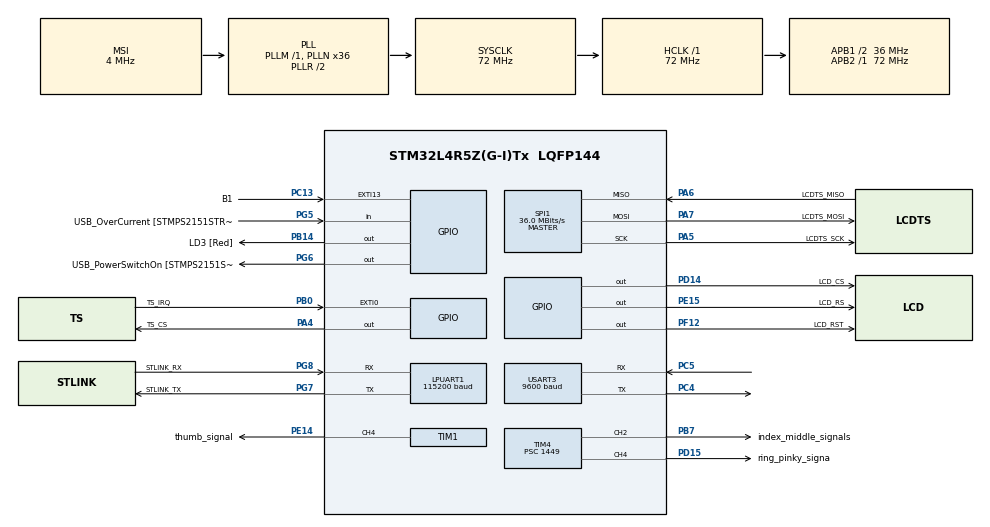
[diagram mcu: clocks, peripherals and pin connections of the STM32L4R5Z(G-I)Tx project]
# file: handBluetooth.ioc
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Dma.Request0=SPI1_RX
Dma.Request1=SPI1_TX
Dma.SPI1_RX.0.Direction=DMA_PERIPH_TO_MEMORY
Dma.SPI1_RX.0.EventEnable=DISABLE
Dma.SPI1_RX.0.Instance=DMA1_Channel1
Dma.SPI1_RX.0.MemDataAlignment=DMA_MDATAALIGN_BYTE
Dma.SPI1_RX.0.MemInc=DMA_MINC_ENABLE
Dma.SPI1_RX.0.Mode=DMA_NORMAL
Dma.SPI1_RX.0.PeriphDataAlignment=DMA_PDATAALIGN_HALFWORD
Dma.SPI1_RX.0.PeriphInc=DMA_PINC_DISABLE
Dma.SPI1_RX.0.Polarity=HAL_DMAMUX_REQUEST_GEN_RISING
Dma.SPI1_RX.0.Priority=DMA_PRIORITY_LOW
Dma.SPI1_RX.0.RequestNumber=1
Dma.SPI1_RX.0.SignalID=NONE
Dma.SPI1_RX.0.SyncEnable=DISABLE
Dma.SPI1_RX.0.SyncPolarity=HAL_DMAMUX_SYNC_NO_EVENT
Dma.SPI1_RX.0.SyncRequestNumber=1
Dma.SPI1_RX.0.SyncSignalID=NONE
Dma.SPI1_TX.1.Direction=DMA_MEMORY_TO_PERIPH
Dma.SPI1_TX.1.EventEnable=DISABLE
Dma.SPI1_TX.1.Instance=DMA1_Channel2
Dma.SPI1_TX.1.MemDataAlignment=DMA_MDATAALIGN_BYTE
Dma.SPI1_TX.1.MemInc=DMA_MINC_ENABLE
Dma.SPI1_TX.1.Mode=DMA_NORMAL
Dma.SPI1_TX.1.PeriphDataAlignment=DMA_PDATAALIGN_BYTE
Dma.SPI1_TX.1.PeriphInc=DMA_PINC_DISABLE
Dma.SPI1_TX.1.Polarity=HAL_DMAMUX_REQUEST_GEN_RISING
Dma.SPI1_TX.1.Priority=DMA_PRIORITY_LOW
Dma.SPI1_TX.1.RequestNumber=1
Dma.SPI1_TX.1.SignalID=NONE
Dma.SPI1_TX.1.SyncEnable=DISABLE
Dma.SPI1_TX.1.SyncPolarity=HAL_DMAMUX_SYNC_NO_EVENT
Dma.SPI1_TX.1.SyncRequestNumber=1
Dma.SPI1_TX.1.SyncSignalID=NONE
LPUART1.BaudRate=115200
LPUART1.WordLength=UART_WORDLENGTH_8B
Mcu.Family=STM32L4
Mcu.Name=STM32L4R5Z(G-I)Tx
Mcu.Package=LQFP144
NVIC.DMA1_Channel1_IRQn=true\:0\:0\:false\:false\:true\:false\:true\:true
NVIC.DMA1_Channel2_IRQn=true\:0\:0\:false\:false\:true\:false\:true\:true
NVIC.EXTI0_IRQn=true\:0\:0\:false\:false\:true\:true\:true\:true
NVIC.PriorityGroup=NVIC_PRIORITYGROUP_4
NVIC.SPI1_IRQn=true\:0\:0\:false\:false\:true\:true\:true\:true
NVIC.USART3_IRQn=true\:0\:0\:false\:false\:true\:true\:true\:true
PA10.GPIO_Label=USB_ID
PA10.Signal=USB_OTG_FS_ID
PA11.GPIO_Label=USB_DM
PA11.Signal=USB_OTG_FS_DM
PA12.GPIO_Label=USB_DP
PA12.Signal=USB_OTG_FS_DP
PA13\ (JTMS/SWDIO).GPIO_Label=TMS
PA13\ (JTMS/SWDIO).Signal=SYS_JTMS-SWDIO
PA14\ (JTCK/SWCLK).GPIO_Label=TCK
PA14\ (JTCK/SWCLK).Signal=SYS_JTCK-SWCLK
PA4.GPIO_Label=TS_CS
PA4.PinState=GPIO_PIN_SET
PA4.Signal=GPIO_Output
PA5.GPIO_Label=LCDTS_SCK
PA5.Mode=Full_Duplex_Master
PA5.Signal=SPI1_SCK
PA6.GPIO_Label=LCDTS_MISO
PA6.Mode=Full_Duplex_Master
PA6.Signal=SPI1_MISO
PA7.GPIO_Label=LCDTS_MOSI
PA7.Mode=Full_Duplex_Master
PA7.Signal=SPI1_MOSI
PA8.GPIO_Label=USB_SOF [TP1]
PA8.Signal=USB_OTG_FS_SOF
PA9.GPIO_Label=USB_VBUS
PA9.Signal=USB_OTG_FS_VBUS
PB0.GPIO_Label=TS_IRQ
PB0.GPIO_ModeDefaultEXTI=GPIO_MODE_IT_FALLING
PB0.GPIO_PuPd=GPIO_NOPULL
PB0.Signal=GPXTI0
PB14.GPIO_Label=LD3 [Red]
PB14.PinState=GPIO_PIN_RESET
PB14.Signal=GPIO_Output
PB7.GPIO_Label=index_middle_signals
PB7.Signal=S_TIM4_CH2
PC13.GPIO_Label=B1
PC13.Signal=GPXTI13
PC14-OSC32_IN\ (PC14).Mode=LSE-External-Oscillator
PC14-OSC32_IN\ (PC14).Signal=RCC_OSC32_IN
PC15-OSC32_OUT\ (PC15).Mode=LSE-External-Oscillator
PC15-OSC32_OUT\ (PC15).Signal=RCC_OSC32_OUT
PC4.Mode=Asynchronous
PC4.Signal=USART3_TX
PC5.Mode=Asynchronous
PC5.Signal=USART3_RX
PD14.GPIO_Label=LCD_CS
PD14.GPIO_Speed=GPIO_SPEED_FREQ_VERY_HIGH
PD14.PinState=GPIO_PIN_SET
PD14.Signal=GPIO_Output
PD15.GPIO_Label=ring_pinky_signa
PD15.Signal=S_TIM4_CH4
PE14.GPIO_Label=thumb_signal
PE14.Signal=S_TIM1_CH4
PE15.GPIO_Label=LCD_RS
PE15.GPIO_Speed=GPIO_SPEED_FREQ_VERY_HIGH
PE15.Signal=GPIO_Output
PF12.GPIO_Label=LCD_RST
PF12.GPIO_Speed=GPIO_SPEED_FREQ_LOW
PF12.PinState=GPIO_PIN_SET
PF12.Signal=GPIO_Output
PG5.GPIO_Label=USB_OverCurrent [STMPS2151STR_FAULT]
PG5.Signal=GPIO_Input
PG6.GPIO_Label=USB_PowerSwitchOn [STMPS2151STR_En]
PG6.Signal=GPIO_Output
PG7.GPIO_Label=STLINK_TX
PG7.Mode=Asynchronous
PG7.Signal=LPUART1_TX
PG8.GPIO_Label=STLINK_RX
PG8.Mode=Asynchronous
PG8.Signal=LPUART1_RX
PH0-OSC_IN\ (PH0).Mode=HSE-External-Clock-Source
PH0-OSC_IN\ (PH0).Signal=RCC_OSC_IN
PH1-OSC_OUT\ (PH1).Signal=RCC_OSC_OUT
ProjectManager.HeapSize=0x200
ProjectManager.StackSize=0x400
ProjectManager.TargetToolchain=STM32CubeIDE
RCC.48MHZClocksFreq_Value=24000000
RCC.ADCFreq_Value=16000000
RCC.AHBFreq_Value=72000000
RCC.APB1CLKDivider=RCC_HCLK_DIV2
RCC.APB1Freq_Value=36000000
RCC.APB1TimFreq_Value=72000000
RCC.APB2Freq_Value=72000000
RCC.APB2TimFreq_Value=72000000
RCC.CortexFreq_Value=72000000
RCC.HCLKFreq_Value=72000000
RCC.HSE_VALUE=8000000
RCC.HSI48_VALUE=48000000
RCC.HSI_VALUE=16000000
RCC.MSI_VALUE=4000000
RCC.PLLMUL=RCC_PLL_MUL9
RCC.PLLN=36
RCC.PRESCALERUSB=RCC_USBCLKSOURCE_PLL_DIV1_5
RCC.SYSCLKFreq_VALUE=72000000
RCC.SYSCLKSource=RCC_SYSCLKSOURCE_PLLCLK
RCC.SYSCLKSourceVirtual=RCC_SYSCLKSOURCE_PLLCLK
RCC.USBFreq_Value=16000000
RCC.VCOOutputFreq_Value=144000000
SH.S_TIM1_CH4.0=TIM1_CH4,PWM Generation4 CH4
SH.S_TIM4_CH2.0=TIM4_CH2,PWM Generation2 CH2
SH.S_TIM4_CH4.0=TIM4_CH4,PWM Generation4 CH4
SPI1.BaudRatePrescaler=SPI_BAUDRATEPRESCALER_2
SPI1.CalculateBaudRate=36.0 MBits/s
SPI1.DataSize=SPI_DATASIZE_8BIT
SPI1.Direction=SPI_DIRECTION_2LINES
SPI1.Mode=SPI_MODE_MASTER
SPI1.VirtualType=VM_MASTER
TIM1.AutoReloadPreload=TIM_AUTORELOAD_PRELOAD_ENABLE
TIM1.Channel-PWM\ Generation4\ CH4=TIM_CHANNEL_4
TIM1.Period=999
TIM1.Prescaler=1449
TIM1.Pulse-PWM\ Generation4\ CH4=250
TIM4.AutoReloadPreload=TIM_AUTORELOAD_PRELOAD_ENABLE
TIM4.Channel-PWM\ Generation2\ CH2=TIM_CHANNEL_2
TIM4.Channel-PWM\ Generation4\ CH4=TIM_CHANNEL_4
TIM4.Period=999
TIM4.Prescaler=1449
TIM4.Pulse-PWM\ Generation2\ CH2=50
USART3.BaudRate=9600
USART3.VirtualMode-Asynchronous=VM_ASYNC
board=NUCLEO-L4R5ZI

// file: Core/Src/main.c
/* USER CODE BEGIN Header */
/**
  ******************************************************************************
  * @file           : main.c
  * @brief          : Main program body
  ******************************************************************************
  * @attention
  *
  * Copyright (c) 2025 STMicroelectronics.
  * All rights reserved.
  *
  * This software is licensed under terms that can be found in the LICENSE file
  * in the root directory of this software component.
  * If no LICENSE file comes with this software, it is provided AS-IS.
  *
  ******************************************************************************
  */
/* USER CODE END Header */
#include "main.h"

/* USER CODE BEGIN Includes */
#include "game.h"
#include "stdio.h"
#include "audio_clips.h"
#include "bitmap.h"
#include "Lcd/ili9488.h"
/* BSP LCD driver */
#include "Lcd/stm32_ili9488_lcd.h"

/* BSP TS driver */
#include "Lcd/stm32_ili9488_ts.h"
/* USER CODE END Includes */

UART_HandleTypeDef hlpuart1;
UART_HandleTypeDef huart3;

SPI_HandleTypeDef hspi1;
DMA_HandleTypeDef hdma_spi1_rx;
DMA_HandleTypeDef hdma_spi1_tx;

TIM_HandleTypeDef htim1;
TIM_HandleTypeDef htim4;

/* USER CODE BEGIN PV */
extern LCD_DrvTypeDef *lcd_drv;

/* USER CODE END PV */

void SystemClock_Config(void);
static void MX_GPIO_Init(void);
static void MX_DMA_Init(void);
static void MX_SPI1_Init(void);
static void MX_TIM1_Init(void);
static void MX_TIM4_Init(void);
static void MX_USART3_UART_Init(void);
static void MX_LPUART1_UART_Init(void);

/* USER CODE BEGIN 0 */
#ifdef __GNUC__
#define PUTCHAR_PROTOTYPE int __io_putchar(int ch)
#else
#define PUTCHAR_PROTOTYPE int fputc(int ch, FILE *f)
#endif

PUTCHAR_PROTOTYPE
{
    HAL_UART_Transmit(&hlpuart1, (uint8_t *)&ch, 1, HAL_MAX_DELAY);
    return ch;
}

uint8_t cmd;

struct GameInfo prevMatch = {NOGAME, NOCHOICE, NOCHOICE};
uint16_t lcd_height;
uint16_t lcd_width;

GameResult getGameResult(Gesture userChoice, Gesture robotChoice) {
    if (userChoice == robotChoice) {
       return TIED;
    }
    else if ((userChoice == ROCK && robotChoice == SCISSORS) || (userChoice == PAPER && robotChoice == ROCK) || (userChoice == SCISSORS && robotChoice == PAPER)) {
      return USER_WINS;
    }
    return ROBOT_WINS;
}

const uint16_t* getBitMap(Gesture choice) {
    const uint16_t* bitmap;
    switch (choice){
    case ROCK:
       bitmap = rockBitMap;
       break;
    case SCISSORS:
        bitmap = scissorBitMap;
        break;
    default:
        bitmap = paperBitMap;
    }
    return bitmap;
}

void displayText() {
	// font24 has 6 lines (0-5)
	  int resultTextLine = 5;

	if (prevMatch.res == NOGAME) {
		return;
	}
	BSP_LCD_ClearStringLine(resultTextLine);
	if (prevMatch.res == TIED) {
		BSP_LCD_DisplayStringAtLine(resultTextLine, (uint8_t*)"Stalemate");
	}
	else if (prevMatch.res == USER_WINS) {
		BSP_LCD_DisplayStringAtLine(resultTextLine, (uint8_t*)"You win!");
	}
	else if (prevMatch.res == ROBOT_WINS){
		BSP_LCD_DisplayStringAtLine(resultTextLine, (uint8_t*)"You lost");
	}
}
// Change graphics and result text to reflect current match info.
void displayLCD(struct GameInfo curMatch)
{

	     BSP_LCD_DisplayChar(15, lcd_height/2 - 20, 'Y');
	  	 BSP_LCD_DisplayChar(30, lcd_height/2 - 20, 'O');
	  	 BSP_LCD_DisplayChar(45, lcd_height/2 - 20, 'U');

	  	 BSP_LCD_DisplayChar(lcd_width-90, lcd_height/2 - 20, 'R');
	  	 BSP_LCD_DisplayChar(lcd_width-75, lcd_height/2 - 20, 'O');
	  	 BSP_LCD_DisplayChar(lcd_width-60, lcd_height/2 - 20, 'B');
	  	 BSP_LCD_DisplayChar(lcd_width-45, lcd_height/2 - 20, 'O');
	  	 BSP_LCD_DisplayChar(lcd_width-30, lcd_height/2 - 20, 'T');

	  prevMatch.res = curMatch.res;
	  prevMatch.userChoice = curMatch.userChoice;
	  prevMatch.robotChoice = curMatch.robotChoice;

	  displayText();

	  const uint16_t* userBitmap = getBitMap(curMatch.userChoice);
	  const uint16_t* robotBitmap = getBitMap(curMatch.robotChoice);

	  BSP_LCD_DrawRGB16Image(0, lcd_height/2, 100, 100, (uint16_t*)userBitmap);

	  BSP_LCD_DrawRGB16Image(BSP_LCD_GetXSize()-100, BSP_LCD_GetYSize()/2, 100, 100, (uint16_t*)robotBitmap);

}

uint32_t update_ccr(uint32_t originalVal, uint32_t target) {
	if (target > originalVal) {
		return originalVal + 5;
	}
	else if (target < originalVal) {
		return originalVal - 5;
	}
	return originalVal;
}

void lcd_countdown() {

	 BSP_LCD_Clear(LCD_COLOR_BLACK);
	 BSP_LCD_SetFont(&Font200);
	 BSP_LCD_DisplayChar(lcd_width/5, lcd_height/3, '3');
	 lcd_drv->FillRect(0,0, 320 /3 , 480/3, 0x0000);
	 BSP_LCD_DisplayChar(lcd_width/5, lcd_height/3, '2');
	 lcd_drv->FillRect(0,0, 320 /3 , 480/3, 0x0000);
	 BSP_LCD_DisplayChar(lcd_width/5, lcd_height/3, '1');
	 lcd_drv->FillRect(lcd_width/5, lcd_height/3, 200, 200, 0x0000);
	 BSP_LCD_SetFont(&LCD_DEFAULT_FONT);
}

void move_hand(Gesture robotMove)
{
	 uint32_t thumb_target;
	 uint32_t index_middle_target;
	 uint32_t ring_pinky_target;
	//  CCR 50 = 0 degrees, CCR 150 = 90 degrees, CCR 250 = 180 degrees

	  if (robotMove == ROCK) { // thumb ccr to 250, other timers' CCR set to 50
		  thumb_target = 250;
		  index_middle_target = 50;
		  ring_pinky_target = 50;
	}
	 else if (robotMove == PAPER) { // thumb ccr to 50, other timers' CCR set to 250
		  thumb_target = 50;
		  index_middle_target = 250;
		  ring_pinky_target = 250;
	 }
	 else if (robotMove == SCISSORS) {
		 thumb_target = 250;
		 index_middle_target = 250;
		 ring_pinky_target = 50;
	 }
	 else if (robotMove == NOCHOICE) {
		 thumb_target = 150;
		 index_middle_target = 125;
		 ring_pinky_target = 125;
	  }
	  uint32_t thumb_ccr =  htim1.Instance->CCR4;
	  uint32_t index_middle_ccr = htim4.Instance->CCR2;
	  uint32_t ring_pinky_ccr = htim4.Instance->CCR4;

	  while (thumb_ccr != thumb_target || (index_middle_target != index_middle_ccr) || (ring_pinky_target != ring_pinky_ccr)) {
		 if (thumb_ccr != thumb_target) {
			 __HAL_TIM_SET_COMPARE(&htim1, TIM_CHANNEL_4, update_ccr(thumb_ccr, thumb_target));
		 }
		 if (index_middle_ccr != index_middle_target) {

			 __HAL_TIM_SET_COMPARE(&htim4, TIM_CHANNEL_2, update_ccr(index_middle_ccr, index_middle_target));
		 }
		if (ring_pinky_ccr != ring_pinky_target) {

			 __HAL_TIM_SET_COMPARE(&htim4, TIM_CHANNEL_4, update_ccr(ring_pinky_ccr, ring_pinky_target));
		 }
		thumb_ccr =  htim1.Instance->CCR4;
		index_middle_ccr = htim4.Instance->CCR2;
		ring_pinky_ccr = htim4.Instance->CCR4;
		HAL_Delay(1);
	}

}

void run_test() {
	move_hand(PAPER);
	HAL_Delay(2000);
	move_hand(ROCK);
	HAL_Delay(2000);
}

/* USER CODE END 0 */

int main(void)
{

  /* MCU Configuration--------------------------------------------------------*/

  /* Reset of all peripherals, Initializes the Flash interface and the Systick. */
  HAL_Init();

  /* Configure the system clock */
  SystemClock_Config();

  /* Initialize all configured peripherals */
  MX_GPIO_Init();
  MX_DMA_Init();
  MX_SPI1_Init();
  MX_TIM1_Init();
  MX_TIM4_Init();
  MX_USART3_UART_Init();
  MX_LPUART1_UART_Init();
  /* USER CODE BEGIN 2 */

  // Start timers for hand: start off with paper
   HAL_TIM_PWM_Start(&htim4, TIM_CHANNEL_2);  // index and middle fingers: CCR=250 is stretched, CCR=50 is curled
   HAL_TIM_PWM_Start(&htim4, TIM_CHANNEL_4);
   HAL_TIM_PWM_Start(&htim1, TIM_CHANNEL_4); // thumb finger: CCR=50 is stretched, CCR=250 is curled
   BSP_LCD_Init();
   lcd_height = BSP_LCD_GetYSize();
    lcd_width = BSP_LCD_GetXSize();
    BSP_LCD_SetTextColor(LCD_COLOR_WHITE); // set initial text color to white
    lcd_countdown();
  /* USER CODE END 2 */

  /* Infinite loop */
  /* USER CODE BEGIN WHILE */

  while (1)
  {
		     if (HAL_UART_Receive(&huart3, &cmd, 1, HAL_MAX_DELAY) == HAL_OK) {
		        if (cmd == 9) {
  		        	lcd_countdown();
		        	  // move_hand(NOCHOICE);
		       		  continue;
		        }
		        Gesture robotGesture = (Gesture)(cmd / 3);
		        Gesture userGesture = (Gesture)(cmd % 3);
		        GameResult res =  getGameResult(userGesture, robotGesture);
		    	  struct GameInfo matchInfo = {res, userGesture, robotGesture};
		        printf("Received: %d\r\n", cmd);
		        move_hand(robotGesture);
		        displayLCD(matchInfo);

		      }

    /* USER CODE END WHILE */

  }
}

void SystemClock_Config(void)
{
  RCC_OscInitTypeDef RCC_OscInitStruct = {0};
  RCC_ClkInitTypeDef RCC_ClkInitStruct = {0};

  /** Configure the main internal regulator output voltage
  */
  if (HAL_PWREx_ControlVoltageScaling(PWR_REGULATOR_VOLTAGE_SCALE1) != HAL_OK)
  {
    Error_Handler();
  }

  /** Initializes the RCC Oscillators according to the specified parameters
  * in the RCC_OscInitTypeDef structure.
  */
  RCC_OscInitStruct.OscillatorType = RCC_OSCILLATORTYPE_MSI;
  RCC_OscInitStruct.MSIState = RCC_MSI_ON;
  RCC_OscInitStruct.MSICalibrationValue = 0;
  RCC_OscInitStruct.MSIClockRange = RCC_MSIRANGE_6;
  RCC_OscInitStruct.PLL.PLLState = RCC_PLL_ON;
  RCC_OscInitStruct.PLL.PLLSource = RCC_PLLSOURCE_MSI;
  RCC_OscInitStruct.PLL.PLLM = 1;
  RCC_OscInitStruct.PLL.PLLN = 36;
  RCC_OscInitStruct.PLL.PLLP = RCC_PLLP_DIV2;
  RCC_OscInitStruct.PLL.PLLQ = RCC_PLLQ_DIV2;
  RCC_OscInitStruct.PLL.PLLR = RCC_PLLR_DIV2;
  if (HAL_RCC_OscConfig(&RCC_OscInitStruct) != HAL_OK)
  {
    Error_Handler();
  }

  /** Initializes the CPU, AHB and APB buses clocks
  */
  RCC_ClkInitStruct.ClockType = RCC_CLOCKTYPE_HCLK|RCC_CLOCKTYPE_SYSCLK
                              |RCC_CLOCKTYPE_PCLK1|RCC_CLOCKTYPE_PCLK2;
  RCC_ClkInitStruct.SYSCLKSource = RCC_SYSCLKSOURCE_PLLCLK;
  RCC_ClkInitStruct.AHBCLKDivider = RCC_SYSCLK_DIV1;
  RCC_ClkInitStruct.APB1CLKDivider = RCC_HCLK_DIV2;
  RCC_ClkInitStruct.APB2CLKDivider = RCC_HCLK_DIV1;

  if (HAL_RCC_ClockConfig(&RCC_ClkInitStruct, FLASH_LATENCY_3) != HAL_OK)
  {
    Error_Handler();
  }
}

static void MX_LPUART1_UART_Init(void)
{

  hlpuart1.Instance = LPUART1;
  hlpuart1.Init.BaudRate = 115200;
  hlpuart1.Init.WordLength = UART_WORDLENGTH_8B;
  hlpuart1.Init.StopBits = UART_STOPBITS_1;
  hlpuart1.Init.Parity = UART_PARITY_NONE;
  hlpuart1.Init.Mode = UART_MODE_TX_RX;
  hlpuart1.Init.HwFlowCtl = UART_HWCONTROL_NONE;
  hlpuart1.Init.OneBitSampling = UART_ONE_BIT_SAMPLE_DISABLE;
  hlpuart1.Init.ClockPrescaler = UART_PRESCALER_DIV1;
  hlpuart1.AdvancedInit.AdvFeatureInit = UART_ADVFEATURE_NO_INIT;
  hlpuart1.FifoMode = UART_FIFOMODE_DISABLE;
  if (HAL_UART_Init(&hlpuart1) != HAL_OK)
  {
    Error_Handler();
  }
  if (HAL_UARTEx_SetTxFifoThreshold(&hlpuart1, UART_TXFIFO_THRESHOLD_1_8) != HAL_OK)
  {
    Error_Handler();
  }
  if (HAL_UARTEx_SetRxFifoThreshold(&hlpuart1, UART_RXFIFO_THRESHOLD_1_8) != HAL_OK)
  {
    Error_Handler();
  }
  if (HAL_UARTEx_DisableFifoMode(&hlpuart1) != HAL_OK)
  {
    Error_Handler();
  }

}

static void MX_USART3_UART_Init(void)
{

  huart3.Instance = USART3;
  huart3.Init.BaudRate = 9600;
  huart3.Init.WordLength = UART_WORDLENGTH_8B;
  huart3.Init.StopBits = UART_STOPBITS_1;
  huart3.Init.Parity = UART_PARITY_NONE;
  huart3.Init.Mode = UART_MODE_TX_RX;
  huart3.Init.HwFlowCtl = UART_HWCONTROL_NONE;
  huart3.Init.OverSampling = UART_OVERSAMPLING_16;
  huart3.Init.OneBitSampling = UART_ONE_BIT_SAMPLE_DISABLE;
  huart3.Init.ClockPrescaler = UART_PRESCALER_DIV1;
  huart3.AdvancedInit.AdvFeatureInit = UART_ADVFEATURE_NO_INIT;
  if (HAL_UART_Init(&huart3) != HAL_OK)
  {
    Error_Handler();
  }
  if (HAL_UARTEx_SetTxFifoThreshold(&huart3, UART_TXFIFO_THRESHOLD_1_8) != HAL_OK)
  {
    Error_Handler();
  }
  if (HAL_UARTEx_SetRxFifoThreshold(&huart3, UART_RXFIFO_THRESHOLD_1_8) != HAL_OK)
  {
    Error_Handler();
  }
  if (HAL_UARTEx_DisableFifoMode(&huart3) != HAL_OK)
  {
    Error_Handler();
  }

}

static void MX_SPI1_Init(void)
{

  /* SPI1 parameter configuration*/
  hspi1.Instance = SPI1;
  hspi1.Init.Mode = SPI_MODE_MASTER;
  hspi1.Init.Direction = SPI_DIRECTION_2LINES;
  hspi1.Init.DataSize = SPI_DATASIZE_8BIT;
  hspi1.Init.CLKPolarity = SPI_POLARITY_LOW;
  hspi1.Init.CLKPhase = SPI_PHASE_1EDGE;
  hspi1.Init.NSS = SPI_NSS_SOFT;
  hspi1.Init.BaudRatePrescaler = SPI_BAUDRATEPRESCALER_2;
  hspi1.Init.FirstBit = SPI_FIRSTBIT_MSB;
  hspi1.Init.TIMode = SPI_TIMODE_DISABLE;
  hspi1.Init.CRCCalculation = SPI_CRCCALCULATION_DISABLE;
  hspi1.Init.CRCPolynomial = 7;
  hspi1.Init.CRCLength = SPI_CRC_LENGTH_DATASIZE;
  hspi1.Init.NSSPMode = SPI_NSS_PULSE_ENABLE;
  if (HAL_SPI_Init(&hspi1) != HAL_OK)
  {
    Error_Handler();
  }

}

static void MX_TIM1_Init(void)
{

  TIM_MasterConfigTypeDef sMasterConfig = {0};
  TIM_OC_InitTypeDef sConfigOC = {0};
  TIM_BreakDeadTimeConfigTypeDef sBreakDeadTimeConfig = {0};

  htim1.Instance = TIM1;
  htim1.Init.Prescaler = 1449;
  htim1.Init.CounterMode = TIM_COUNTERMODE_UP;
  htim1.Init.Period = 999;
  htim1.Init.ClockDivision = TIM_CLOCKDIVISION_DIV1;
  htim1.Init.RepetitionCounter = 0;
  htim1.Init.AutoReloadPreload = TIM_AUTORELOAD_PRELOAD_ENABLE;
  if (HAL_TIM_PWM_Init(&htim1) != HAL_OK)
  {
    Error_Handler();
  }
  sMasterConfig.MasterOutputTrigger = TIM_TRGO_RESET;
  sMasterConfig.MasterOutputTrigger2 = TIM_TRGO2_RESET;
  sMasterConfig.MasterSlaveMode = TIM_MASTERSLAVEMODE_DISABLE;
  if (HAL_TIMEx_MasterConfigSynchronization(&htim1, &sMasterConfig) != HAL_OK)
  {
    Error_Handler();
  }
  sConfigOC.OCMode = TIM_OCMODE_PWM1;
  sConfigOC.Pulse = 250;
  sConfigOC.OCPolarity = TIM_OCPOLARITY_HIGH;
  sConfigOC.OCFastMode = TIM_OCFAST_DISABLE;
  sConfigOC.OCIdleState = TIM_OCIDLESTATE_RESET;
  sConfigOC.OCNIdleState = TIM_OCNIDLESTATE_RESET;
  if (HAL_TIM_PWM_ConfigChannel(&htim1, &sConfigOC, TIM_CHANNEL_4) != HAL_OK)
  {
    Error_Handler();
  }
  sBreakDeadTimeConfig.OffStateRunMode = TIM_OSSR_DISABLE;
  sBreakDeadTimeConfig.OffStateIDLEMode = TIM_OSSI_DISABLE;
  sBreakDeadTimeConfig.LockLevel = TIM_LOCKLEVEL_OFF;
  sBreakDeadTimeConfig.DeadTime = 0;
  sBreakDeadTimeConfig.BreakState = TIM_BREAK_DISABLE;
  sBreakDeadTimeConfig.BreakPolarity = TIM_BREAKPOLARITY_HIGH;
  sBreakDeadTimeConfig.BreakFilter = 0;
  sBreakDeadTimeConfig.Break2State = TIM_BREAK2_DISABLE;
  sBreakDeadTimeConfig.Break2Polarity = TIM_BREAK2POLARITY_HIGH;
  sBreakDeadTimeConfig.Break2Filter = 0;
  sBreakDeadTimeConfig.AutomaticOutput = TIM_AUTOMATICOUTPUT_DISABLE;
  if (HAL_TIMEx_ConfigBreakDeadTime(&htim1, &sBreakDeadTimeConfig) != HAL_OK)
  {
    Error_Handler();
  }
  HAL_TIM_MspPostInit(&htim1);

}

static void MX_TIM4_Init(void)
{

  TIM_MasterConfigTypeDef sMasterConfig = {0};
  TIM_OC_InitTypeDef sConfigOC = {0};

  htim4.Instance = TIM4;
  htim4.Init.Prescaler = 1449;
  htim4.Init.CounterMode = TIM_COUNTERMODE_UP;
  htim4.Init.Period = 999;
  htim4.Init.ClockDivision = TIM_CLOCKDIVISION_DIV1;
  htim4.Init.AutoReloadPreload = TIM_AUTORELOAD_PRELOAD_ENABLE;
  if (HAL_TIM_PWM_Init(&htim4) != HAL_OK)
  {
    Error_Handler();
  }
  sMasterConfig.MasterOutputTrigger = TIM_TRGO_RESET;
  sMasterConfig.MasterSlaveMode = TIM_MASTERSLAVEMODE_DISABLE;
  if (HAL_TIMEx_MasterConfigSynchronization(&htim4, &sMasterConfig) != HAL_OK)
  {
    Error_Handler();
  }
  sConfigOC.OCMode = TIM_OCMODE_PWM1;
  sConfigOC.Pulse = 50;
  sConfigOC.OCPolarity = TIM_OCPOLARITY_HIGH;
  sConfigOC.OCFastMode = TIM_OCFAST_DISABLE;
  if (HAL_TIM_PWM_ConfigChannel(&htim4, &sConfigOC, TIM_CHANNEL_2) != HAL_OK)
  {
    Error_Handler();
  }
  sConfigOC.Pulse = 0;
  if (HAL_TIM_PWM_ConfigChannel(&htim4, &sConfigOC, TIM_CHANNEL_4) != HAL_OK)
  {
    Error_Handler();
  }
  HAL_TIM_MspPostInit(&htim4);

}

static void MX_DMA_Init(void)
{

  /* DMA controller clock enable */
  __HAL_RCC_DMAMUX1_CLK_ENABLE();
  __HAL_RCC_DMA1_CLK_ENABLE();

  /* DMA interrupt init */
  /* DMA1_Channel1_IRQn interrupt configuration */
  HAL_NVIC_SetPriority(DMA1_Channel1_IRQn, 0, 0);
  HAL_NVIC_EnableIRQ(DMA1_Channel1_IRQn);
  /* DMA1_Channel2_IRQn interrupt configuration */
  HAL_NVIC_SetPriority(DMA1_Channel2_IRQn, 0, 0);
  HAL_NVIC_EnableIRQ(DMA1_Channel2_IRQn);

}

static void MX_GPIO_Init(void)
{
  GPIO_InitTypeDef GPIO_InitStruct = {0};

  /* GPIO Ports Clock Enable */
  __HAL_RCC_GPIOC_CLK_ENABLE();
  __HAL_RCC_GPIOH_CLK_ENABLE();
  __HAL_RCC_GPIOA_CLK_ENABLE();
  __HAL_RCC_GPIOB_CLK_ENABLE();
  __HAL_RCC_GPIOF_CLK_ENABLE();
  __HAL_RCC_GPIOE_CLK_ENABLE();
  __HAL_RCC_GPIOD_CLK_ENABLE();
  __HAL_RCC_GPIOG_CLK_ENABLE();
  HAL_PWREx_EnableVddIO2();

  /*Configure GPIO pin Output Level */
  HAL_GPIO_WritePin(TS_CS_GPIO_Port, TS_CS_Pin, GPIO_PIN_SET);

  /*Configure GPIO pin Output Level */
  HAL_GPIO_WritePin(LCD_RST_GPIO_Port, LCD_RST_Pin, GPIO_PIN_SET);

  /*Configure GPIO pin Output Level */
  HAL_GPIO_WritePin(LCD_RS_GPIO_Port, LCD_RS_Pin, GPIO_PIN_RESET);

  /*Configure GPIO pin Output Level */
  HAL_GPIO_WritePin(LD3_GPIO_Port, LD3_Pin, GPIO_PIN_RESET);

  /*Configure GPIO pin Output Level */
  HAL_GPIO_WritePin(LCD_CS_GPIO_Port, LCD_CS_Pin, GPIO_PIN_SET);

  /*Configure GPIO pin Output Level */
  HAL_GPIO_WritePin(USB_PowerSwitchOn_GPIO_Port, USB_PowerSwitchOn_Pin, GPIO_PIN_RESET);

  /*Configure GPIO pin : B1_Pin */
  GPIO_InitStruct.Pin = B1_Pin;
  GPIO_InitStruct.Mode = GPIO_MODE_IT_RISING;
  GPIO_InitStruct.Pull = GPIO_NOPULL;
  HAL_GPIO_Init(B1_GPIO_Port, &GPIO_InitStruct);

  /*Configure GPIO pin : TS_CS_Pin */
  GPIO_InitStruct.Pin = TS_CS_Pin;
  GPIO_InitStruct.Mode = GPIO_MODE_OUTPUT_PP;
  GPIO_InitStruct.Pull = GPIO_NOPULL;
  GPIO_InitStruct.Speed = GPIO_SPEED_FREQ_LOW;
  HAL_GPIO_Init(TS_CS_GPIO_Port, &GPIO_InitStruct);

  /*Configure GPIO pin : TS_IRQ_Pin */
  GPIO_InitStruct.Pin = TS_IRQ_Pin;
  GPIO_InitStruct.Mode = GPIO_MODE_IT_FALLING;
  GPIO_InitStruct.Pull = GPIO_NOPULL;
  HAL_GPIO_Init(TS_IRQ_GPIO_Port, &GPIO_InitStruct);

  /*Configure GPIO pin : LCD_RST_Pin */
  GPIO_InitStruct.Pin = LCD_RST_Pin;
  GPIO_InitStruct.Mode = GPIO_MODE_OUTPUT_PP;
  GPIO_InitStruct.Pull = GPIO_NOPULL;
  GPIO_InitStruct.Speed = GPIO_SPEED_FREQ_LOW;
  HAL_GPIO_Init(LCD_RST_GPIO_Port, &GPIO_InitStruct);

  /*Configure GPIO pin : LCD_RS_Pin */
  GPIO_InitStruct.Pin = LCD_RS_Pin;
  GPIO_InitStruct.Mode = GPIO_MODE_OUTPUT_PP;
  GPIO_InitStruct.Pull = GPIO_NOPULL;
  GPIO_InitStruct.Speed = GPIO_SPEED_FREQ_VERY_HIGH;
  HAL_GPIO_Init(LCD_RS_GPIO_Port, &GPIO_InitStruct);

  /*Configure GPIO pin : LD3_Pin */
  GPIO_InitStruct.Pin = LD3_Pin;
  GPIO_InitStruct.Mode = GPIO_MODE_OUTPUT_PP;
  GPIO_InitStruct.Pull = GPIO_NOPULL;
  GPIO_InitStruct.Speed = GPIO_SPEED_FREQ_LOW;
  HAL_GPIO_Init(LD3_GPIO_Port, &GPIO_InitStruct);

  /*Configure GPIO pin : LCD_CS_Pin */
  GPIO_InitStruct.Pin = LCD_CS_Pin;
  GPIO_InitStruct.Mode = GPIO_MODE_OUTPUT_PP;
  GPIO_InitStruct.Pull = GPIO_NOPULL;
  GPIO_InitStruct.Speed = GPIO_SPEED_FREQ_VERY_HIGH;
  HAL_GPIO_Init(LCD_CS_GPIO_Port, &GPIO_InitStruct);

  /*Configure GPIO pin : USB_OverCurrent_Pin */
  GPIO_InitStruct.Pin = USB_OverCurrent_Pin;
  GPIO_InitStruct.Mode = GPIO_MODE_INPUT;
  GPIO_InitStruct.Pull = GPIO_NOPULL;
  HAL_GPIO_Init(USB_OverCurrent_GPIO_Port, &GPIO_InitStruct);

  /*Configure GPIO pin : USB_PowerSwitchOn_Pin */
  GPIO_InitStruct.Pin = USB_PowerSwitchOn_Pin;
  GPIO_InitStruct.Mode = GPIO_MODE_OUTPUT_PP;
  GPIO_InitStruct.Pull = GPIO_NOPULL;
  GPIO_InitStruct.Speed = GPIO_SPEED_FREQ_LOW;
  HAL_GPIO_Init(USB_PowerSwitchOn_GPIO_Port, &GPIO_InitStruct);

  /*Configure GPIO pins : USB_SOF_Pin USB_ID_Pin USB_DM_Pin USB_DP_Pin */
  GPIO_InitStruct.Pin = USB_SOF_Pin|USB_ID_Pin|USB_DM_Pin|USB_DP_Pin;
  GPIO_InitStruct.Mode = GPIO_MODE_AF_PP;
  GPIO_InitStruct.Pull = GPIO_NOPULL;
  GPIO_InitStruct.Speed = GPIO_SPEED_FREQ_VERY_HIGH;
  GPIO_InitStruct.Alternate = GPIO_AF10_OTG_FS;
  HAL_GPIO_Init(GPIOA, &GPIO_InitStruct);

  /*Configure GPIO pin : USB_VBUS_Pin */
  GPIO_InitStruct.Pin = USB_VBUS_Pin;
  GPIO_InitStruct.Mode = GPIO_MODE_INPUT;
  GPIO_InitStruct.Pull = GPIO_NOPULL;
  HAL_GPIO_Init(USB_VBUS_GPIO_Port, &GPIO_InitStruct);

  /* EXTI interrupt init*/
  HAL_NVIC_SetPriority(EXTI0_IRQn, 0, 0);
  HAL_NVIC_EnableIRQ(EXTI0_IRQn);

}

void Error_Handler(void)
{
  __disable_irq();
  while (1)
  {
  }
}
